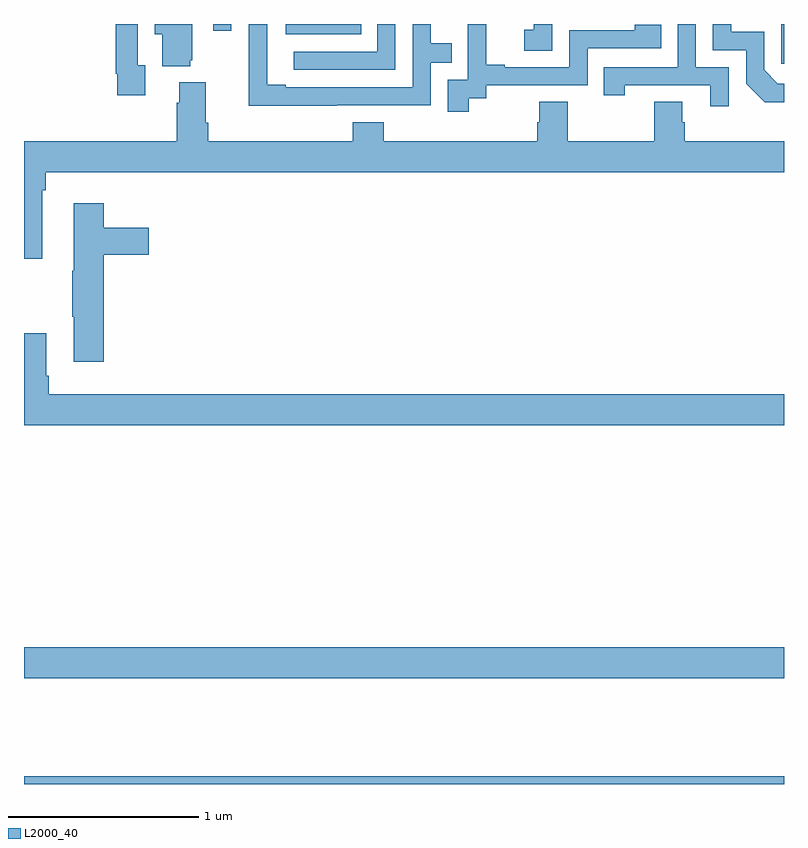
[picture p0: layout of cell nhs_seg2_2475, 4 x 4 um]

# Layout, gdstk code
import gdstk
lib = gdstk.Library(unit=1e-6, precision=1e-09)
def R(c, l, rs):  # rectangles x0, y0, x1, y1
    for r in rs: c.add(gdstk.rectangle(r[:2], r[2:], *l))
def P(c, l, *ps):  # polygons
    for p in ps: c.add(gdstk.Polygon(p, *l))
L2000_40 = (2000, 40)

nhs_seg2_2475 = lib.new_cell('nhs_seg2_2475')
R(nhs_seg2_2475, L2000_40, [(241,593.8,245,593.84), (241,594.356,245,594.52), (244.986,597.591,245,597.8), (242.378,597.746,242.774,597.8), (241.995,597.765,242.091,597.8)])
P(nhs_seg2_2475, L2000_40, [(245,597.486),(244.968,597.486),(244.896,597.558),(244.896,597.759),(244.723,597.759),(244.723,597.8),(244.626,597.8),(244.626,597.663),(244.8,597.663),(244.8,597.486),(244.898,597.389),(245,597.389)],
  [(242.645,597.372),(243.141,597.372),(243.141,597.597),(243.251,597.597),(243.251,597.698),(243.141,597.698),(243.141,597.8),(243.045,597.8),(243.045,597.468),(242.377,597.468),(242.377,597.481),(242.281,597.481),(242.281,597.677),(242.28,597.677),(242.28,597.8),(242.184,597.8),(242.184,597.677),(242.182,597.677),(242.182,597.371),(242.645,597.371)],
  [(241.874,597.609),(241.885,597.609),(241.885,597.8),(241.688,597.8),(241.688,597.746),(241.727,597.746),(241.727,597.578),(241.874,597.578)],
  [(244.71,597.573),(244.536,597.573),(244.536,597.8),(244.44,597.8),(244.44,597.573),(244.051,597.573),(244.051,597.426),(244.162,597.426),(244.162,597.477),(244.613,597.477),(244.613,597.366),(244.71,597.366)],
  [(243.78,597.8),(243.682,597.8),(243.682,597.769),(243.633,597.769),(243.633,597.66),(243.78,597.66)],
  [(241.639,597.582),(241.599,597.582),(241.599,597.8),(241.483,597.8),(241.483,597.538),(241.491,597.538),(241.491,597.426),(241.639,597.426)],
  [(243.34,597.409),(243.432,597.409),(243.432,597.477),(243.966,597.477),(243.966,597.672),(244.355,597.672),(244.355,597.795),(244.215,597.795),(244.215,597.768),(243.87,597.768),(243.87,597.573),(243.529,597.573),(243.529,597.586),(243.434,597.586),(243.434,597.8),(243.335,597.8),(243.335,597.737),(243.336,597.737),(243.336,597.507),(243.231,597.507),(243.231,597.339),(243.34,597.339)],
  [(242.955,597.8),(242.859,597.8),(242.859,597.654),(242.421,597.654),(242.421,597.558),(242.955,597.558)],
  [(241.096,596.924),(241.115,596.924),(241.115,597.02),(245,597.02),(245,597.184),(244.478,597.184),(244.478,597.282),(244.465,597.282),(244.465,597.392),(244.318,597.392),(244.318,597.184),(243.861,597.184),(243.861,597.392),(243.713,597.392),(243.713,597.282),(243.701,597.282),(243.701,597.184),(242.894,597.184),(242.894,597.283),(242.729,597.283),(242.729,597.184),(241.97,597.184),(241.97,597.28),(241.957,597.28),(241.957,597.493),(241.817,597.493),(241.817,597.386),(241.805,597.386),(241.805,597.184),(241,597.184),(241,596.565),(241.096,596.565)],
  [(241.421,596.585),(241.657,596.585),(241.657,596.727),(241.421,596.727),(241.421,596.857),(241.262,596.857),(241.262,596.501),(241.255,596.501),(241.255,596.26),(241.262,596.26),(241.262,596.022),(241.421,596.022)],
  [(245,595.852),(241.13,595.852),(241.13,595.948),(241.117,595.948),(241.117,596.173),(241,596.173),(241,595.688),(245,595.688)])

lib.write_gds('nhs_seg2_2475.gds')
